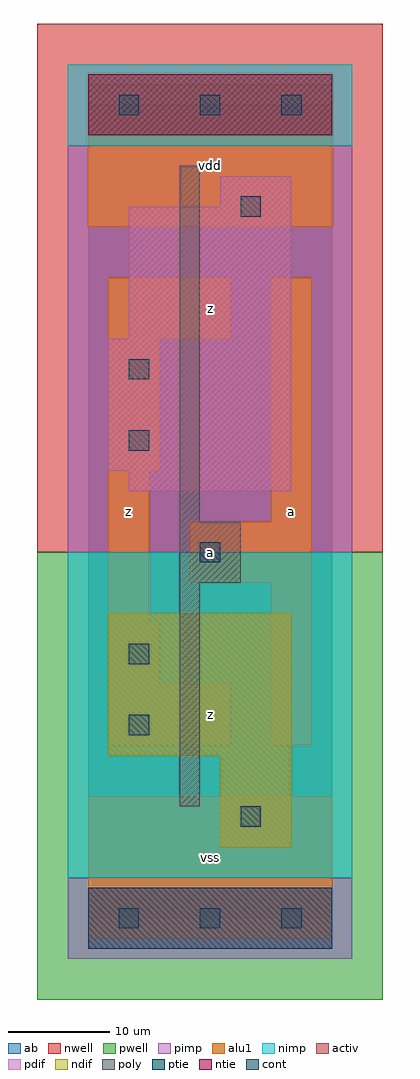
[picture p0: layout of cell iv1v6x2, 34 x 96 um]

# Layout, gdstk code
import gdstk
lib = gdstk.Library(unit=1e-6, precision=1e-09)
def R(c, l, rs):  # rectangles x0, y0, x1, y1
    for r in rs: c.add(gdstk.rectangle(r[:2], r[2:], *l))
def A(c, l, x, y, w, h, nx, ny, dx, dy):  # array of equal rectangles
    R(c, l, [(x+i*dx, y+j*dy, x+i*dx+w, y+j*dy+h) for i in range(nx) for j in range(ny)])
ndif = (3, 0)
pdif = (4, 0)
ntie = (5, 0)
ptie = (6, 0)
cont = (25, 0)
pwell = (41, 0)
nwell = (42, 0)
activ = (43, 0)
pimp = (44, 0)
nimp = (45, 0)
poly = (46, 0)
alu1 = (49, 0)
ab = (63, 0)

iv1v6x2 = lib.new_cell('iv1v6x2')
R(iv1v6x2, ndif, [(13,7,20,16), (2,16,20,30)])
R(iv1v6x2, pdif, [(4,42,20,44), (2,44,20,57), (4,57,20,70), (13,70,20,73)])
R(iv1v6x2, ntie, [(0,77,24,83)])
R(iv1v6x2, ptie, [(0,-3,24,3)])
A(iv1v6x2, cont, 3, -1, 2, 2, 3, 2, 8, 80)
R(iv1v6x2, cont, [(15,9,17,11), (4,18,6,20), (4,25,6,27), (11,35,13,37), (4,46,6,48), (4,53,6,55), (15,69,17,71)])
R(iv1v6x2, pwell, [(-5,-8,29,36)])
R(iv1v6x2, nwell, [(-5,36,29,88)])
R(iv1v6x2, activ, [(0,-3,24,3), (13,7,20,16), (2,16,20,30), (4,42,20,44), (2,44,20,57), (4,57,20,70), (13,70,20,73), (0,77,24,83)])
R(iv1v6x2, pimp, [(-2,-4,26,4), (-2,36,26,76)])
R(iv1v6x2, nimp, [(-2,4,26,36), (-2,76,26,84)])
R(iv1v6x2, poly, [(9,11,11,33), (9,33,15,39), (9,39,11,74)])
R(iv1v6x2, alu1, [(0,-2,24,12), (2,17,14,23), (18,17,22,33), (2,23,7,29), (2,29,6,44), (10,33,22,39), (18,39,22,63), (2,44,7,57), (2,57,14,63), (0,68,24,82)])
R(iv1v6x2, ab, [(0,0,24,80)])
iv1v6x2.add(gdstk.Label('z', (4,40), layer=49, texttype=0))
iv1v6x2.add(gdstk.Label('vss', (12,6), layer=49, texttype=0))
iv1v6x2.add(gdstk.Label('z', (12,20), layer=49, texttype=0))
iv1v6x2.add(gdstk.Label('a', (12,36), layer=49, texttype=0))
iv1v6x2.add(gdstk.Label('z', (12,60), layer=49, texttype=0))
iv1v6x2.add(gdstk.Label('vdd', (12,74), layer=49, texttype=0))
iv1v6x2.add(gdstk.Label('a', (20,40), layer=49, texttype=0))

lib.write_gds('iv1v6x2.gds')
